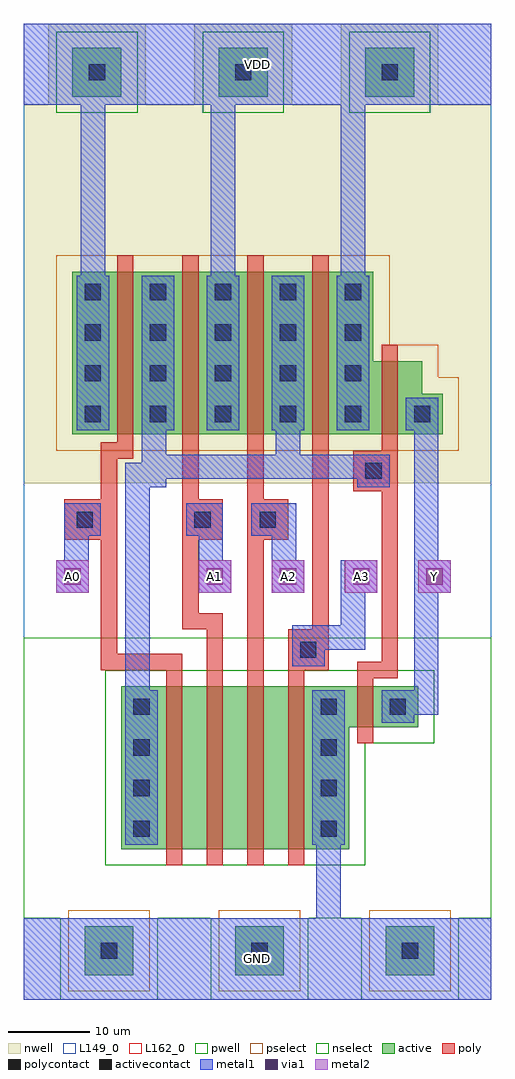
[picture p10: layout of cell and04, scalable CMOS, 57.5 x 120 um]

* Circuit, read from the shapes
.subckt and04 A0 A1 A2 A3 GND VDD Y
M1 n1 A0 n2 GND nfet w=20u l=2u
M2 n3 A1 n1 GND nfet w=20u l=2u
M3 n4 A2 n3 GND nfet w=20u l=2u
M4 GND A3 n4 GND nfet w=20u l=2u
M5 Y n2 GND GND nfet w=5u l=2u
M6 n2 A0 VDD VDD pfet w=20u l=2u
M7 VDD A1 n2 VDD pfet w=20u l=2u
M8 n2 A2 VDD VDD pfet w=20u l=2u
M9 VDD A3 n2 VDD pfet w=20u l=2u
M10 Y n2 VDD VDD pfet w=9u l=2u
.ends

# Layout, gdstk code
from math import pi, radians
import gdstk
lib = gdstk.Library(unit=1e-6, precision=1e-09)
def R(c, l, rs):  # rectangles x0, y0, x1, y1
    for r in rs: c.add(gdstk.rectangle(r[:2], r[2:], *l))
def A(c, l, x, y, w, h, nx, ny, dx, dy):  # array of equal rectangles
    R(c, l, [(x+i*dx, y+j*dy, x+i*dx+w, y+j*dy+h) for i in range(nx) for j in range(ny)])
def P(c, l, *ps):  # polygons
    for p in ps: c.add(gdstk.Polygon(p, *l))
pwell = (41, 0)
nwell = (42, 0)
active = (43, 0)
pselect = (44, 0)
nselect = (45, 0)
poly = (46, 0)
polycontact = (47, 0)
activecontact = (48, 0)
metal1 = (49, 0)
via1 = (50, 0)
metal2 = (51, 0)
L149_0 = (149, 0)
L162_0 = (162, 0)

pwell_contact = lib.new_cell('pwell_contact')
R(pwell_contact, pwell, [(-6,-6,6,5)])
R(pwell_contact, active, [(-3,-3,3,3)])
R(pwell_contact, pselect, [(-5,-5,5,5)])
R(pwell_contact, activecontact, [(-1,-1,1,1)])

nwell_contact = lib.new_cell('nwell_contact')
R(nwell_contact, nwell, [(-6,-5,6,6)])
R(nwell_contact, active, [(-3,-3,3,3)])
R(nwell_contact, nselect, [(-5,-5,5,5)])
R(nwell_contact, activecontact, [(-1,-1,1,1)])

via = lib.new_cell('via')
R(via, metal1, [(-2,-2,2,2)])
R(via, via1, [(-1,-1,1,1)])
R(via, metal2, [(-2,-2,2,2)])

and04 = lib.new_cell('and04')
R(and04, pwell, [(0,10,57.5,20), (0,10,57.5,44.5)])
P(and04, pwell, [(46,12.5),(46,27.5),(54.5,27.5),(54.5,44.5),(6,44.5),(6,12.5)])
R(and04, nwell, [(0,63.5,57.5,110), (0,95,57.5,110)])
P(and04, nwell, [(0,63.5),(0,95.5),(49,95.5),(49,84.5),(55,84.5),(55,80.5),(57.5,80.5),(57.5,63.5)])
P(and04, active, [(6,69.5),(6,89.5),(43,89.5),(43,78.5),(49,78.5),(49,74.5),(51.5,74.5),(51.5,69.5)],
  [(40,18.5),(40,33.5),(48.5,33.5),(48.5,38.5),(12,38.5),(12,18.5)])
P(and04, pselect, [(4,67.5),(4,91.5),(45,91.5),(45,80.5),(51,80.5),(51,76.5),(53.5,76.5),(53.5,67.5)])
P(and04, nselect, [(42,16.5),(42,31.5),(50.5,31.5),(50.5,40.5),(10,40.5),(10,16.5)])
A(and04, poly, 17.5, 16.5, 2, 2, 4, 2, 5, 22)
A(and04, poly, 17.5, 18.5, 2, 20, 4, 1, 5, 0)
A(and04, poly, 11.5, 67.5, 2, 2, 4, 2, 8, 22)
A(and04, poly, 11.5, 69.5, 2, 20, 4, 1, 8, 0)
R(and04, poly, [(41,31.5,43,33.5), (41,33.5,43,38.5), (41,38.5,43,40.5), (32.5,40.5,37.5,45.5), (5,56.5,10,61.5), (19.5,56.5,24.5,61.5), (27.5,56.5,32.5,61.5), (40.5,62.5,45.5,67.5), (44,67.5,46,69.5), (44,69.5,46,78.5), (44,78.5,46,80.5)])
R(and04, polycontact, [(34,42,36,44), (6.5,58,8.5,60), (21,58,23,60), (29,58,31,60), (42,64,44,66)])
A(and04, activecontact, 13.5, 20, 2, 2, 1, 4, 0, 5)
A(and04, activecontact, 36.5, 20, 2, 2, 1, 4, 0, 5)
A(and04, activecontact, 7.5, 71, 2, 2, 5, 4, 8, 5)
R(and04, activecontact, [(45,35,47,37), (48,71,50,73)])
A(and04, metal1, 6.5, 70, 4, 19, 5, 1, 8, 0)
R(and04, metal1, [(0,0,57.5,10), (0,0,57.5,10), (12.5,19,16.5,38), (35.5,19,39.5,38), (44,34,48,38), (33,41,37,45), (5.5,57,9.5,61), (20,57,24,61), (28,57,32,61), (41,63,45,67), (47,70,51,74), (0,110,57.5,120), (0,110,57.5,120)])
A(and04, metal2, 21.5, 50, 4, 4, 4, 1, 9, 0)
R(and04, metal2, [(4,50,8,54)])
R(and04, L149_0, [(0,0,57.5,10), (0,0,57.5,10), (0,0,57.5,120), (33,41,37,45), (5.5,57,9.5,61), (20,57,24,61), (28,57,32,61), (41,63,45,67), (0,110,57.5,120), (0,110,57.5,120)])
A(and04, L162_0, 21.5, 50, 4, 4, 4, 1, 9, 0)
R(and04, L162_0, [(4,50,8,54)])
and04.add(gdstk.FlexPath([(40.5,89),(40.5,110)], 3, ends="flush", simple_path=True, layer=149, datatype=0))  # L149_0
and04.add(gdstk.FlexPath([(24.5,89),(24.5,110)], 3, ends="flush", simple_path=True, layer=149, datatype=0))  # L149_0
and04.add(gdstk.FlexPath([(17.5,65.5),(41,65.5)], 3, ends="flush", simple_path=True, layer=149, datatype=0))  # L149_0
and04.add(gdstk.FlexPath([(32.5,70),(32.5,67)], 3, ends="flush", simple_path=True, layer=149, datatype=0))  # L149_0
and04.add(gdstk.FlexPath([(8.5,89),(8.5,110)], 3, ends="flush", simple_path=True, layer=149, datatype=0))  # L149_0
and04.add(gdstk.FlexPath([(23,61),(23,50)], 3, ends="flush", simple_path=True, layer=149, datatype=0))  # L149_0
and04.add(gdstk.FlexPath([(32,61),(32,50)], 3, ends="flush", simple_path=True, layer=149, datatype=0))  # L149_0
and04.add(gdstk.FlexPath([(16,70),(16,64.5),(14,64.5),(14,38)], 3, ends="flush", simple_path=True, layer=149, datatype=0))  # L149_0
and04.add(gdstk.FlexPath([(37.5,19),(37.5,10)], 3, ends="flush", simple_path=True, layer=149, datatype=0))  # L149_0
and04.add(gdstk.FlexPath([(49.5,70),(49.5,36.5),(48,36.5)], 3, ends="flush", simple_path=True, layer=149, datatype=0))  # L149_0
and04.add(gdstk.FlexPath([(6.5,61),(6.5,50)], 3, ends="flush", simple_path=True, layer=149, datatype=0))  # L149_0
and04.add(gdstk.FlexPath([(33,44.5),(40.5,44.5),(40.5,54)], 3, ends="flush", simple_path=True, layer=149, datatype=0))  # L149_0
and04.add(gdstk.FlexPath([(40.5,89),(40.5,110)], 3, ends="flush", simple_path=True, layer=49, datatype=0))  # metal1
and04.add(gdstk.FlexPath([(24.5,89),(24.5,110)], 3, ends="flush", simple_path=True, layer=49, datatype=0))  # metal1
and04.add(gdstk.FlexPath([(17.5,65.5),(41,65.5)], 3, ends="flush", simple_path=True, layer=49, datatype=0))  # metal1
and04.add(gdstk.FlexPath([(32.5,70),(32.5,67)], 3, ends="flush", simple_path=True, layer=49, datatype=0))  # metal1
and04.add(gdstk.FlexPath([(8.5,89),(8.5,110)], 3, ends="flush", simple_path=True, layer=49, datatype=0))  # metal1
and04.add(gdstk.FlexPath([(23,61),(23,50)], 3, ends="flush", simple_path=True, layer=49, datatype=0))  # metal1
and04.add(gdstk.FlexPath([(32,61),(32,50)], 3, ends="flush", simple_path=True, layer=49, datatype=0))  # metal1
and04.add(gdstk.FlexPath([(16,70),(16,64.5),(14,64.5),(14,38)], 3, ends="flush", simple_path=True, layer=49, datatype=0))  # metal1
and04.add(gdstk.FlexPath([(37.5,19),(37.5,10)], 3, ends="flush", simple_path=True, layer=49, datatype=0))  # metal1
and04.add(gdstk.FlexPath([(49.5,70),(49.5,36.5),(48,36.5)], 3, ends="flush", simple_path=True, layer=49, datatype=0))  # metal1
and04.add(gdstk.FlexPath([(6.5,61),(6.5,50)], 3, ends="flush", simple_path=True, layer=49, datatype=0))  # metal1
and04.add(gdstk.FlexPath([(33,44.5),(40.5,44.5),(40.5,54)], 3, ends="flush", simple_path=True, layer=49, datatype=0))  # metal1
and04.add(gdstk.FlexPath([(28.5,67.5),(28.5,40.5)], 2, ends="flush", simple_path=True, layer=46, datatype=0))  # poly
and04.add(gdstk.FlexPath([(20.5,67.5),(20.5,46.5),(23.5,46.5),(23.5,40.5)], 2, ends="flush", simple_path=True, layer=46, datatype=0))  # poly
and04.add(gdstk.FlexPath([(13.5,67.5),(10.5,67.5),(10.5,41.5),(18.5,41.5),(18.5,40.5)], 2, ends="flush", simple_path=True, layer=46, datatype=0))  # poly
and04.add(gdstk.FlexPath([(36.5,67.5),(36.5,45.5)], 2, ends="flush", simple_path=True, layer=46, datatype=0))  # poly
and04.add(gdstk.FlexPath([(45,67.5),(45,40.5),(41,40.5)], 2, ends="flush", simple_path=True, layer=46, datatype=0))  # poly
and04.add(gdstk.Reference(pwell_contact, (47.5,6)))
and04.add(gdstk.Reference(pwell_contact, (10.5,6)))
and04.add(gdstk.Reference(pwell_contact, (29,6)))
and04.add(gdstk.Reference(nwell_contact, (27,114)))
and04.add(gdstk.Reference(nwell_contact, (45,114)))
and04.add(gdstk.Reference(nwell_contact, (9,114)))
and04.add(gdstk.Reference(via, (23.5,52)))
and04.add(gdstk.Reference(via, (50.5,52)))
and04.add(gdstk.Reference(via, (41.5,52)))
and04.add(gdstk.Reference(via, (32.5,52)))
and04.add(gdstk.Reference(via, (6,52), rotation=pi, x_reflection=True))
and04.add(gdstk.Label('Y', (50.5,52), layer=3, texttype=0))
and04.add(gdstk.Label('A0', (6,52), layer=3, texttype=0))
and04.add(gdstk.Label('A2', (32.5,52), layer=3, texttype=0))
and04.add(gdstk.Label('A3', (41.5,52), layer=3, texttype=0))
and04.add(gdstk.Label('A1', (23.5,52), layer=3, texttype=0))
and04.add(gdstk.Label('GND', (28.75,5), layer=2, texttype=0))
and04.add(gdstk.Label('VDD', (28.75,115), layer=2, texttype=0))

lib.write_gds('and04.gds')
